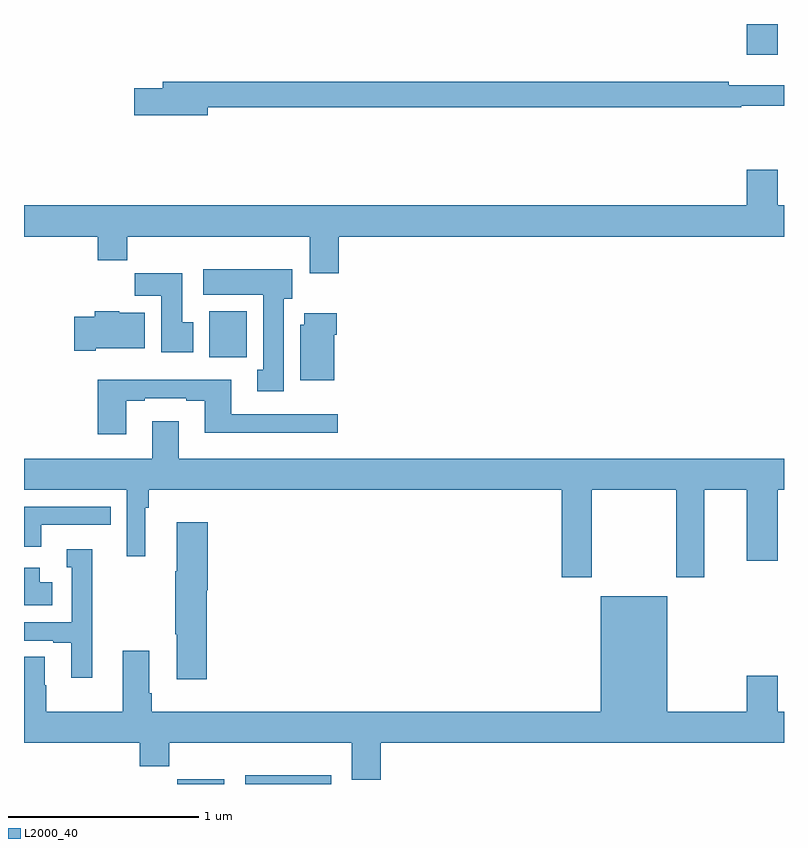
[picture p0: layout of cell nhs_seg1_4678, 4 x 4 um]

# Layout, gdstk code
import gdstk
lib = gdstk.Library(unit=1e-6, precision=1e-09)
def R(c, l, rs):  # rectangles x0, y0, x1, y1
    for r in rs: c.add(gdstk.rectangle(r[:2], r[2:], *l))
def P(c, l, *ps):  # polygons
    for p in ps: c.add(gdstk.Polygon(p, *l))
L2000_40 = (2000, 40)

nhs_seg1_4678 = lib.new_cell('nhs_seg1_4678')
R(nhs_seg1_4678, L2000_40, [(365.806,534.199,366.055,534.223), (366.165,534.199,366.616,534.244), (365.975,536.444,366.172,536.686), (368.804,538.038,368.968,538.199)])
P(nhs_seg1_4678, L2000_40, [(365.968,537.76),(368.775,537.76),(368.775,537.768),(369,537.768),(369,537.877),(368.708,537.877),(368.708,537.896),(365.729,537.896),(365.729,537.86),(365.58,537.86),(365.58,537.718),(365.968,537.718)],
  [(366.656,537.08),(369,537.08),(369,537.244),(368.968,537.244),(368.968,537.433),(368.804,537.433),(368.804,537.244),(365,537.244),(365,537.08),(365.387,537.08),(365.387,536.956),(365.543,536.956),(365.543,537.08),(366.503,537.08),(366.503,536.886),(366.656,536.886)],
  [(366.367,536.754),(366.412,536.754),(366.412,536.908),(365.943,536.908),(365.943,536.774),(366.26,536.774),(366.26,536.378),(366.227,536.378),(366.227,536.265),(366.367,536.265)],
  [(365.89,536.628),(365.833,536.628),(365.833,536.887),(365.584,536.887),(365.584,536.768),(365.723,536.768),(365.723,536.472),(365.89,536.472)],
  [(365.377,536.492),(365.635,536.492),(365.635,536.68),(365.502,536.68),(365.502,536.686),(365.372,536.686),(365.372,536.658),(365.265,536.658),(365.265,536.48),(365.377,536.48)],
  [(366.634,536.564),(366.647,536.564),(366.647,536.677),(366.476,536.677),(366.476,536.616),(366.455,536.616),(366.455,536.324),(366.634,536.324)],
  [(365.539,536.217),(365.635,536.217),(365.635,536.229),(365.855,536.229),(365.855,536.217),(365.951,536.217),(365.951,536.048),(366.652,536.048),(366.652,536.145),(366.091,536.145),(366.091,536.326),(365.387,536.326),(365.387,536.04),(365.539,536.04)],
  [(367.989,535.748),(368.434,535.748),(368.434,535.287),(368.581,535.287),(368.581,535.748),(368.804,535.748),(368.804,535.374),(368.968,535.374),(368.968,535.748),(369,535.748),(369,535.912),(365.815,535.912),(365.815,536.107),(365.675,536.107),(365.675,535.912),(365,535.912),(365,535.748),(365.541,535.748),(365.541,535.398),(365.638,535.398),(365.638,535.652),(365.657,535.652),(365.657,535.748),(367.829,535.748),(367.829,535.287),(367.989,535.287)],
  [(365.092,535.563),(365.456,535.563),(365.456,535.659),(365,535.659),(365,535.448),(365.092,535.448)],
  [(365.963,535.218),(365.968,535.218),(365.968,535.576),(365.804,535.576),(365.804,535.318),(365.797,535.318),(365.797,534.988),(365.804,534.988),(365.804,534.75),(365.963,534.75)],
  [(365.359,535.435),(365.225,535.435),(365.225,535.341),(365.25,535.341),(365.25,535.05),(365,535.05),(365,534.954),(365.153,534.954),(365.153,534.942),(365.249,534.942),(365.249,534.759),(365.359,534.759)],
  [(365.149,535.261),(365.083,535.261),(365.083,535.336),(365,535.336),(365,535.139),(365.149,535.139)],
  [(366.878,534.416),(369,534.416),(369,534.58),(368.968,534.58),(368.968,534.769),(368.804,534.769),(368.804,534.58),(368.386,534.58),(368.386,535.186),(368.036,535.186),(368.036,534.58),(365.672,534.58),(365.672,534.676),(365.659,534.676),(365.659,534.901),(365.519,534.901),(365.519,534.58),(365.118,534.58),(365.118,534.719),(365.11,534.719),(365.11,534.869),(365,534.869),(365,534.416),(365.609,534.416),(365.609,534.292),(365.765,534.292),(365.765,534.416),(366.725,534.416),(366.725,534.222),(366.878,534.222)])

lib.write_gds('nhs_seg1_4678.gds')
